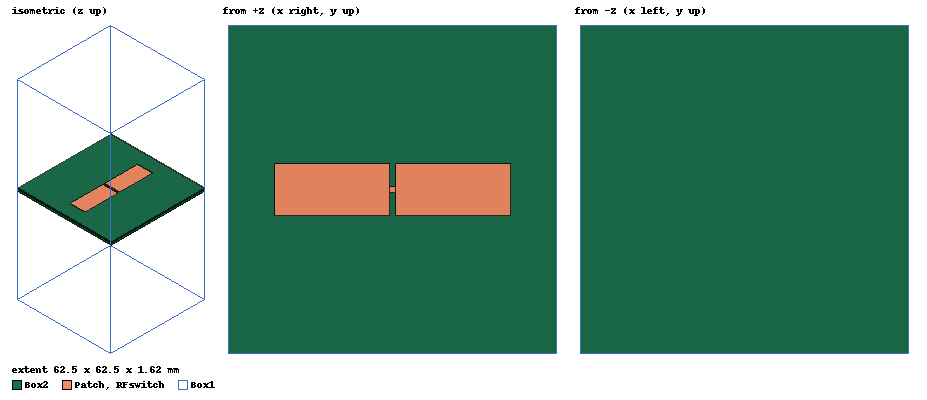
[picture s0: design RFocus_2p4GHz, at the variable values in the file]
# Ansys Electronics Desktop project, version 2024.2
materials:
  PVC plastic: permittivity=2.7 dielectric_loss_tangent=0.007
  copper: permeability=0.999991 conductivity=58000000
  paper: permittivity=3.78
  vacuum: permittivity=1
  FR4_epoxy: permittivity=4.4 dielectric_loss_tangent=0.02

design RFocus_2p4GHz (HFSS, HFSS Modal Network, model units mm)
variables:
  XSize = wavelength/2  # length of the per-element surface substrate, along X axis
  YSize = wavelength/2  # Width of the surface substrate, size along Y axis
  lamda = wavelength  # equal to wavelength
  ZSize = wavelength+ metal_thickness+substrate_thickness  # Height of the simulation box, Size along Z axis
  metal_thickness = 20um  # Thickness of the metalic pattern
  paper_thickness = 0mm  # (Not used)
  pvc_thickness = 0mm  # (Not used)
  patch_H = 4.5cm  # Total length of the two metallic patches, effectively the length of the diople like surface element
  patch_W = 1cm  # Width of the metallic patch,
  wavelength = 12.5cm  # Wavelength at the operating frequency
  patch_gap = 1mm  # Gap between the two patches of the surface element, to host circuit component
  substrate_thickness = 1.6mm  # Thickness of the PCB susbtrate
  switch_width = 1mm  # Width of the RF switch circuit component.
  switch_resistance = 0ohm  # Resistance value of the RF switch, 0 for turned on, high resistance (>1000) for truned off
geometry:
  Box1 [vacuum] = box(corner=(-XSize/2, -YSize/2, -ZSize + lamda/2), size=(XSize, YSize, ZSize))
  Box2 [FR4_epoxy] = box(corner=(-XSize/2, -YSize/2, -substrate_thickness), size=(XSize, YSize, substrate_thickness))
  Patch [copper] = rectangle(corner=(-patch_H/2, -patch_W/2, 0mm), x_size=patch_H, y_size=patch_W)
  Patch.thicken(metal_thickness)
  Patch1 = rectangle(corner=(-patch_gap/2, -patch_W/2, 0mm), x_size=patch_gap, y_size=patch_W)
  Patch1.thicken(metal_thickness)
  Patch.subtract(Patch1)
  RFswitch = rectangle(corner=(-patch_gap/2, -switch_width/2, 0mm), x_size=patch_gap, y_size=switch_width)
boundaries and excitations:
  LatticePair1: Lattice Pair Faces=Box1.face(+y, -y) CoordSysVector{(31.25, 31.25, 62.5) -> (31.25, 31.25, -64.12)} PhaseDelay=UseScanAngle Phi=0deg Theta=0deg
  LatticePair2: Lattice Pair Faces=Box1.face(+x, -x) CoordSysVector{(31.25, -31.25, 62.5) -> (31.25, -31.25, -64.12)} PhaseDelay=UseScanAngle Phi=0deg Theta=0deg
  LumpRLC1: Lumped RLC Objects=RFswitch CurrentLine{(-0.5, 0, 0) -> (0.5, 0, 0)} RLC_Type=Parallel Resistance=switch_resistance
  FloquetPort1: Floquet Port Faces=Box1.face(+z) NumModes=2 DeembedDist=lamda/2 Modes{Mode1{CharImp=Zpi} Mode2{CharImp=Zpi}} PhaseDelay=UseScanAngle Phi=0deg Theta=0deg LatticeAVector{(-31.25, -31.25, 62.5) -> (-31.25, 31.25, 62.5)} LatticeBVector{(-31.25, -31.25, 62.5) -> (31.25, -31.25, 62.5)} ModesCalculator{Frequency=60GHz FrequencyChanged PhiStart=-40deg PhiStop=40deg PhiStep=0deg ThetaStart=-40deg ThetaStop=40deg ThetaStep=0deg} ModesList{Mode{ModeNumber=1 IndexM=0 IndexN=0 KC2=0 PropagationState=Propagating Attenuation=0 PolarizationState=TE AffectsRefinement} Mode{ModeNumber=2 IndexM=0 IndexN=0 KC2=0 PropagationState=Propagating Attenuation=0 PolarizationState=TM AffectsRefinement}}
  FloquetPort2: Floquet Port Faces=Box1.face(-z) NumModes=2 DeembedDist=lamda/2 Modes{Mode1{CharImp=Zpi} Mode2{CharImp=Zpi}} PhaseDelay=UseScanAngle Phi=0deg Theta=0deg LatticeAVector{(-31.25, -31.25, -64.12) -> (-31.25, 31.25, -64.12)} LatticeBVector{(-31.25, -31.25, -64.12) -> (31.25, -31.25, -64.12)} ModesList{Mode{ModeNumber=1 IndexM=0 IndexN=0 KC2=0 PropagationState=Propagating Attenuation=0 PolarizationState=TE AffectsRefinement} Mode{ModeNumber=2 IndexM=0 IndexN=0 KC2=0 PropagationState=Propagating Attenuation=0 PolarizationState=TM AffectsRefinement}}
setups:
  Setup1: HfssDriven Frequency=3GHz MaxDeltaS=0.01 MaximumPasses=12 MinimumPasses=1 MinimumConvergedPasses=1 PercentRefinement=30 BasisOrder=1 PortAccuracy=2 DrivenSolverType="Direct Solver"
    sweep Sweep: 1GHz to 4GHz, 61 points; Type=Discrete SaveFields
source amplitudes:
  FloquetPort1:1: 1W 0deg
  FloquetPort1:2, FloquetPort2:1, FloquetPort2:2: 0W 0deg
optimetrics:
  ParametricSetup1: Parametric Sim._Setups=[Setup1]
    sweep switch_resistance: LIN 0ohm 10000ohm 10000ohm
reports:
  S11 Amp: dB(S(FloquetPort1:2,FloquetPort1:2)) vs Freq on Setup1 : Sweep [switch_resistance=all]; markers MX1 at x=2.3927007e+09
  S21 Amp: dB(S(FloquetPort2:2,FloquetPort1:2)) vs Freq on Setup1 : Sweep; markers MX1 at x=2.6861314e+09
